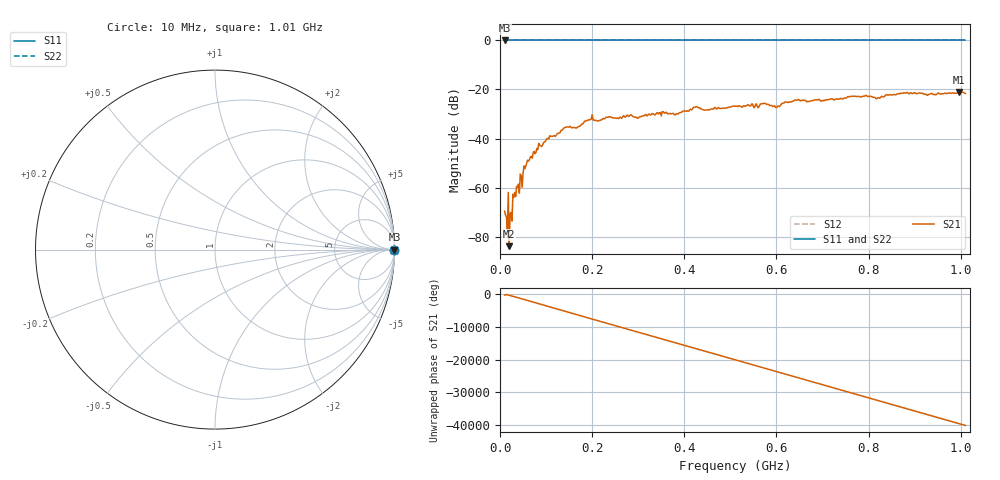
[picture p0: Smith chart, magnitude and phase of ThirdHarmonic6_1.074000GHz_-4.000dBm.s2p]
! 8/16/2025 9:46:34 AM
! C:\ANRITSUVNA\TEMP\TEMP.S2P
! CHANNEL.1
! TR.MEASUREMENT
! RAW.DATA
! RF.CORRECTION.OFF
! AVERAGING.OFF
! IF.BANDWIDTH: 5KHZ
! SWEEPTYPE:  FREQ.SWEEP(Linear)
! Reference Plane Port Info
! PORT:  PORT1  PORT2
! DISTANCE:  0  m  0  m
! TIME:  0  s  0  s
! PHASE.OFFSET:  0  deg.  0  deg.
! LOSS:  0  dB  0  dB
! REF.LOSS:  0  dB  0  dB
! REF.FREQ:  0  Hz  0  Hz
! Power Info
! POWER:  -20  dBm  -20  dBm
! EFF.POWER:  -20  dBm  -20  dBm
! SOURCE.ATTEN:  0  dB  0  dB
! TEST.ATTEN:  0  dB  0  dB
# GHZ S RI R 50.0
! FREQ.GHZ  S11RE  S11IM  S21RE  S21IM  S12RE  S12IM  S22RE  S22IM
!; PortSelection: Port_12
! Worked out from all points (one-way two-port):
!   501 points, 10 MHz to 1.01 GHz, reference 50 ohm
!   highest |S21| = -21.03 dB at 996 MHz (marker M1); lowest = -83.9 dB at 20 MHz (marker M2)
!   lowest |S11| = 0.0 dB at 10 MHz (marker M3)
!   |S11| at or under -10 dB: nowhere
!   |S22| runs from 0.0 to 0.0 dB; largest |S21 - S12| = 1.1
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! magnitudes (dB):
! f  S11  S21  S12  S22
! 10 MHz  0.0  -69.6  0.0  0.0
! 12 MHz  0.0  -71.2  0.0  0.0
! 14 MHz  0.0  -72.0  0.0  0.0
! 16 MHz  0.0  -77.1  0.0  0.0
! 20 MHz  0.0  -83.9  0.0  0.0
! 24 MHz  0.0  -70.2  0.0  0.0
! 32 MHz  0.0  -62.0  0.0  0.0
! 46 MHz  0.0  -55.1  0.0  0.0
! 56 MHz  0.0  -51.2  0.0  0.0
! 84 MHz  0.0  -42.0  0.0  0.0
! 142 MHz  0.0  -35.4  0.0  0.0
! 178 MHz  0.0  -34.1  0.0  0.0
! 196 MHz  0.0  -32.2  0.0  0.0
! 344 MHz  0.0  -30.0  0.0  0.0
! 510 MHz  0.0  -26.9  0.0  0.0
! 572 MHz  0.0  -25.7  0.0  0.0
! 602 MHz  0.0  -26.9  0.0  0.0
! 644 MHz  0.0  -24.4  0.0  0.0
! 678 MHz  0.0  -24.5  0.0  0.0
! 844 MHz  0.0  -22.2  0.0  0.0
! 996 MHz  0.0  -21.0  0.0  0.0
! 1.01 GHz  0.0  -21.6  0.0  0.0
